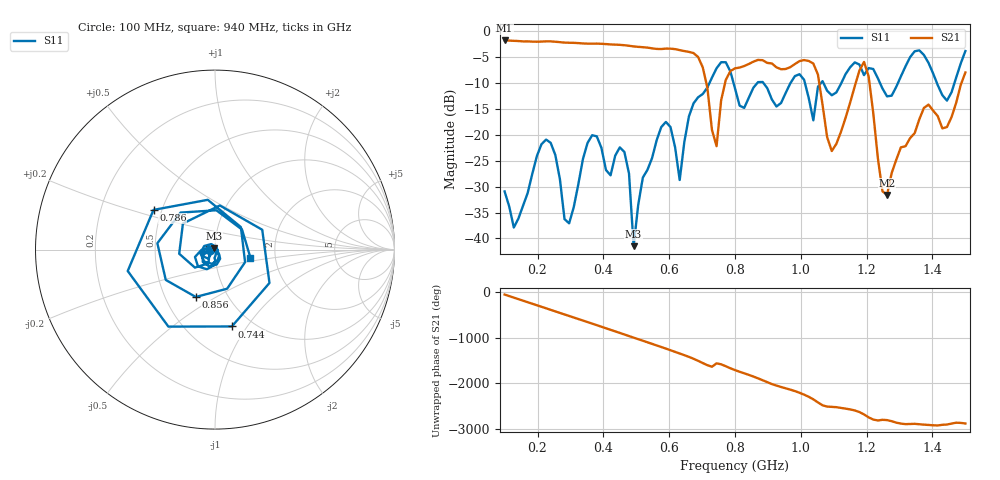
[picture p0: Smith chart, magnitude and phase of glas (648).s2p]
! NanoVNA-App
! Date: 2025-09-25 16:00:31
! Start: 100MHz Stop: 1,5GHz Points: 101
! S-Parameter data: F S11 S21 S12 S22
# Hz S RI R 50
!  Frequency  S11_Real  S11_Imag  S21_Real  S21_Imag  S12_Real  S12_Imag  S22_Real  S22_Imag
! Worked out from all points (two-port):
!   101 points, 100 MHz to 1.5 GHz, reference 50 ohm
!   highest |S21| = -1.80 dB at 100 MHz (marker M1); lowest = -31.6 dB at 1.262 GHz (marker M2)
!   |S21| within 3 dB of the highest: start of sweep to 684.4 MHz
!   lowest |S11| = -41.5 dB at 492 MHz (marker M3), VSWR 1.02, Z = 49.5 + j0.676 ohm
!   |S11| at or under -10 dB: start of sweep to 722.5 MHz; 795.5 MHz to 867.9 MHz (72.39 MHz wide, 8.7 % of centre); 886.2 MHz to 968.8 MHz (82.61 MHz wide, 8.91 % of centre) (the widest 3 of 7)
!   S12 and S22 are empty: the file has one direction only
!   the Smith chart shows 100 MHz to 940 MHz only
!   S11 on the Smith chart (normalised r, x): 100 MHz: 0.95, -0.01; 744 MHz: 0.80, -0.85; 786 MHz: 0.45, +0.24; 856 MHz: 0.71, -0.41; 940 MHz: 1.48, -0.14
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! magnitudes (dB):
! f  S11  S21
! 100 MHz  -30.9  -1.8
! 128 MHz  -37.9  -1.9
! 226 MHz  -20.9  -2.0
! 296 MHz  -37.1  -2.2
! 338 MHz  -24.7  -2.4
! 464 MHz  -23.3  -2.7
! 492 MHz  -41.5  -3.0
! 576 MHz  -18.5  -3.5
! 632 MHz  -28.7  -3.7
! 702 MHz  -12.1  -7.0
! 744 MHz  -7.2  -22.2
! 786 MHz  -7.8  -7.7
! 800 MHz  -11.0  -7.2
! 856 MHz  -10.9  -5.9
! 940 MHz  -13.9  -7.4
! 996 MHz  -8.3  -5.8
! 1.038 GHz  -17.2  -6.3
! 1.094 GHz  -12.4  -23.1
! 1.192 GHz  -8.5  -5.9
! 1.262 GHz  -12.6  -31.6
! 1.276 GHz  -12.5  -27.4
! 1.5 GHz  -3.8  -8.0
